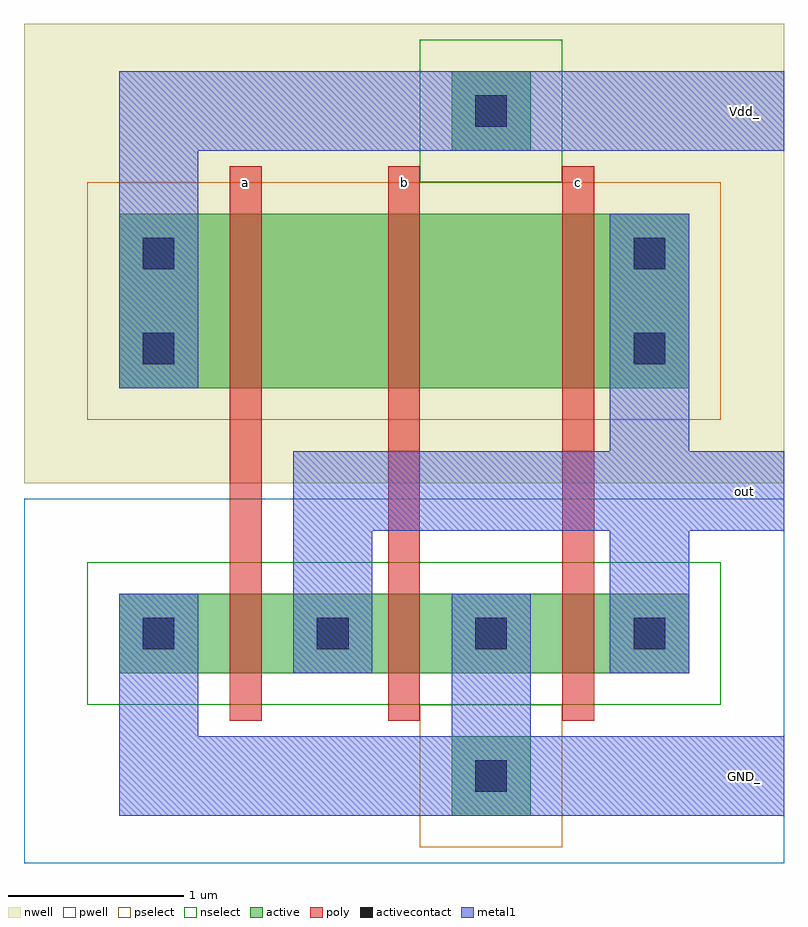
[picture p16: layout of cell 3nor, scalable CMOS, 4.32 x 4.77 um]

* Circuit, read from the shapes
.subckt 3nor GND_ Vdd_ a b c out
M1 out a GND_ GND_ nfet w=0.45u l=0.18u
M2 GND_ b out GND_ nfet w=0.45u l=0.18u
M3 out c GND_ GND_ nfet w=0.45u l=0.18u
M4 n1 a Vdd_ Vdd_ pfet w=0.99u l=0.18u
M5 n2 b n1 Vdd_ pfet w=0.99u l=0.18u
M6 out c n2 Vdd_ pfet w=0.99u l=0.18u
.ends

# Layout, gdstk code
import gdstk
lib = gdstk.Library(unit=1e-6, precision=1e-09)
def R(c, l, rs):  # rectangles x0, y0, x1, y1
    for r in rs: c.add(gdstk.rectangle(r[:2], r[2:], *l))
def A(c, l, x, y, w, h, nx, ny, dx, dy):  # array of equal rectangles
    R(c, l, [(x+i*dx, y+j*dy, x+i*dx+w, y+j*dy+h) for i in range(nx) for j in range(ny)])
pwell = (41, 0)
nwell = (42, 0)
active = (43, 0)
pselect = (44, 0)
nselect = (45, 0)
poly = (46, 0)
activecontact = (48, 0)
metal1 = (49, 0)

c_3nor = lib.new_cell('3nor')
R(c_3nor, pwell, [(6.48,2.52,10.8,4.59)])
R(c_3nor, nwell, [(6.48,4.68,10.8,7.29)])
R(c_3nor, active, [(8.91,2.79,9.36,3.24), (7.02,3.6,10.26,4.05), (7.02,5.22,10.26,6.21), (8.91,6.57,9.36,7.02)])
R(c_3nor, pselect, [(8.73,2.61,9.54,3.42), (6.84,5.04,10.44,6.39)])
R(c_3nor, nselect, [(6.84,3.42,10.44,4.23), (8.73,6.39,9.54,7.2)])
R(c_3nor, poly, [(7.65,3.33,7.83,6.48), (8.55,3.33,8.73,6.48), (9.54,3.33,9.72,6.48)])
A(c_3nor, activecontact, 8.145, 3.735, 0.18, 0.18, 3, 1, 0.9, 0)
R(c_3nor, activecontact, [(9.045,2.925,9.225,3.105), (7.155,3.735,7.335,3.915), (7.155,5.355,7.335,5.535), (9.945,5.355,10.125,5.535), (7.155,5.895,7.335,6.075), (9.945,5.895,10.125,6.075), (9.045,6.705,9.225,6.885)])
R(c_3nor, metal1, [(7.02,2.79,10.8,3.24), (7.02,3.24,7.47,4.05), (8.91,3.24,9.36,4.05), (8.01,3.6,8.46,4.41), (9.81,3.6,10.26,4.41), (8.01,4.41,10.8,4.86), (9.81,4.86,10.26,6.21), (7.02,5.22,7.47,6.57), (7.02,6.57,10.8,7.02)])
c_3nor.add(gdstk.Label('a', (7.74,6.39), layer=46, texttype=0))
c_3nor.add(gdstk.Label('b', (8.64,6.39), layer=46, texttype=0))
c_3nor.add(gdstk.Label('out', (10.575,4.635), layer=49, texttype=0))
c_3nor.add(gdstk.Label('GND_', (10.575,3.015), layer=49, texttype=0))
c_3nor.add(gdstk.Label('c', (9.63,6.39), layer=46, texttype=0))
c_3nor.add(gdstk.Label('Vdd_', (10.575,6.795), layer=49, texttype=0))

lib.write_gds('3nor.gds')
